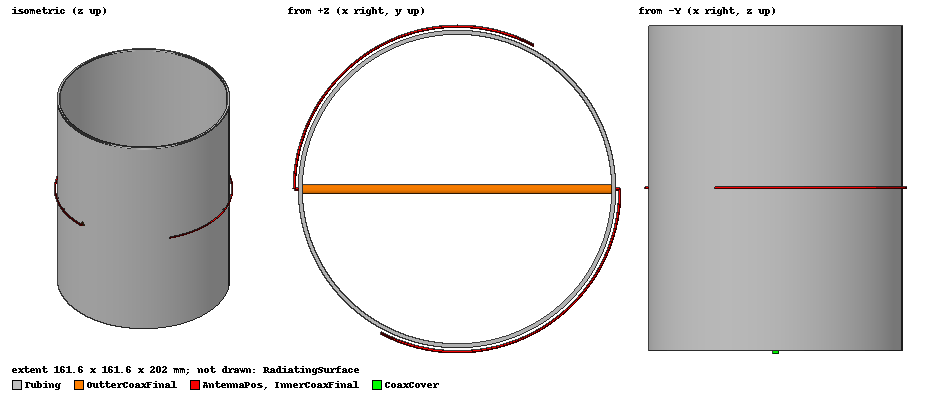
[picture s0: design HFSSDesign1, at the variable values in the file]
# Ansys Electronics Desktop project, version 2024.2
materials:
  vacuum: permittivity=1
  glass: permittivity=5.5
  pec: conductivity=1e+30
  Carbon Fiber: permittivity=9 conductivity=100000 dielectric_loss_tangent=0.05 delta_H_freq=915000000
  Fiber Glass: permittivity=4.8 conductivity=1e-13 dielectric_loss_tangent=0.005 delta_H_freq=915000000
  air: permittivity=1.0006 permeability=1.0000004

design HFSSDesign1 (HFSS, HFSS Terminal Network, model units mm)
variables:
  OuterCoaxDiameter = 4.12mm
  TubingThickness = 2mm
  TubingRadius = 3in
  TubingHeight = 200mm
  AntennaTubingSpace = 2mm
  InnerCoaxDiameter = 1.12mm
  AntennaCoverOffset = AntennaRadius*cos((MonopoleLength/AntennaRadius))
  DielectricCoaxDiameter = 3mm
  AntennaWireRadius = 0.6mm
  Period = 1.1e-09s
  SpeedOfLight = 300000000m_per_sec
  DipoleLength = ((SpeedOfLight*Period)/2) meter
  RadiatingSurface_X = 300mm
  RadiatingSurface_Z = 200mm
  RadiatingSurface_Y = 200mm
  AntennaRadius = TubingRadius + TubingThickness + AntennaTubingSpace
  MonopoleLength = (SpeedOfLight*Period)/2
  WireSpacing = 1mm
  TubingCoverThickness = 1.4mm
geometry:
  CoaxCover [pec] = cylinder(axis=Z, base_centre=(0in, 0in, 0in), radius=OuterCoaxDiameter/2, height=-2mm)
  Tubing [Carbon Fiber, solve inside] = cylinder(axis=Z, base_centre=(0mm, 0mm, 0mm), radius=TubingRadius+TubingThickness, height=TubingHeight)
  TubingCenter = cylinder(axis=Z, base_centre=(0mm, 0mm, 0mm), radius=TubingRadius, height=TubingHeight)
  Tubing.subtract(TubingCenter)
  TubingCoaxGap = cylinder(axis=X, base_centre=(-(TubingRadius + TubingThickness + AntennaTubingSpace), 0mm, TubingHeight/2), radius=(OuterCoaxDiameter/2), height=(TubingRadius + TubingThickness + AntennaTubingSpace)*2)
  Tubing.subtract(TubingCoaxGap)
  InnerCoaxFinal [pec] = cylinder(axis=X, base_centre=(-(AntennaRadius), 0mm, TubingHeight/2), radius=InnerCoaxDiameter/2, height=(AntennaRadius)*2)
  InnerCoax2_1 = InnerCoaxFinal.copy()
  InnerCoax2_2 = InnerCoaxFinal.copy()
  InnerCoax = cylinder(axis=Z, base_centre=(0in, 0in, 0in), radius=InnerCoaxDiameter/2, height=TubingHeight/2)
  InnerCoax_1 = InnerCoax.copy()
  InnerCoax_2 = InnerCoax.copy()
  InnerCoaxFinal.unite(InnerCoax)
  InnerCoaxFinal_1 = InnerCoaxFinal.copy()
  InnerCoaxFinal_2 = InnerCoaxFinal.copy()
  InnerCoaxFinal_3 = InnerCoaxFinal.copy()
  DielectricCoaxFinal [vacuum] = cylinder(axis=X, base_centre=(-(TubingRadius + TubingThickness), 0mm, TubingHeight/2), radius=DielectricCoaxDiameter/2, height=(TubingRadius + TubingThickness)*2)
  DielectricCoax = cylinder(axis=Z, base_centre=(0in, 0in, 0in), radius=DielectricCoaxDiameter/2, height=TubingHeight/2)
  DielectricCoax.subtract(InnerCoax_1)
  DielectricCoax_1 = DielectricCoax.copy()
  DielectricCoax.subtract(InnerCoax2_1)
  DielectricCoaxFinal.unite(DielectricCoax)
  DielectricCoaxFinal.subtract(InnerCoaxFinal_1)
  DielectricCoaxFinal_1 = DielectricCoaxFinal.copy()
  OutterCoaxFinal [pec] = cylinder(axis=X, base_centre=(-(TubingRadius + TubingThickness), 0mm, TubingHeight/2), radius=OuterCoaxDiameter/2, height=(TubingRadius + TubingThickness)*2)
  OutterCoax = cylinder(axis=Z, base_centre=(0in, 0in, 0in), radius=OuterCoaxDiameter/2, height=TubingHeight/2)
  OutterCoax.subtract(DielectricCoax_1, InnerCoax_2)
  OutterCoax.subtract(InnerCoax2_2)
  OutterCoaxFinal.unite(OutterCoax)
  OutterCoaxFinal.subtract(DielectricCoaxFinal_1)
  OutterCoaxFinal.subtract(InnerCoaxFinal_2)
  AntennaPos [pec] = torus(axis=Z, centre=(0mm, 0mm, TubingHeight/2), major_radius=AntennaRadius, minor_radius=AntennaWireRadius)
  AntennaRemovalPos1 = box(corner=(AntennaCoverOffset, 0mm, 0mm), size=(-1000mm, -1000mm, TubingHeight))
  AntennaRemovalPos = box(corner=(-AntennaCoverOffset, 0mm, 0mm), size=(1000mm, 1000mm, TubingHeight))
  AntennaRemovalPos1.unite(AntennaRemovalPos)
  AntennaPos.subtract(AntennaRemovalPos1)
  AntennaPos.subtract(InnerCoaxFinal_3)
  RadiatingSurface [vacuum] = box(corner=(-RadiatingSurface_X/2, -RadiatingSurface_Y/2, 0mm), size=(RadiatingSurface_X, RadiatingSurface_Y, RadiatingSurface_Z))
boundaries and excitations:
  Rad1: Radiation Objects=RadiatingSurface
  1: Wave Port Faces=DielectricCoaxFinal.face(at (0, 0, 0)) WavePortType=Modal NumModes=1 Modes{Mode1{CharImp=Zpi}}
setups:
  Setup1: HfssDrivenAuto AutoSolverSetting="Higher Speed" InfiniteSphereSetup=1 Type=Interpolating
    sweep Sweep: 815MHz to 1015MHz, 501 points;
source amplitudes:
  1:1: 1V 0deg
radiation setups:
  Infinite Sphere1: Infinite Sphere Theta=0deg..180deg step 2deg Phi=-180deg..180deg step 2deg
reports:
  Gain Plot 1: dB(GainTotal) vs Phi, Theta on Setup1 : LastAdaptive, Infinite Sphere1 [Freq=0.915GHz]
